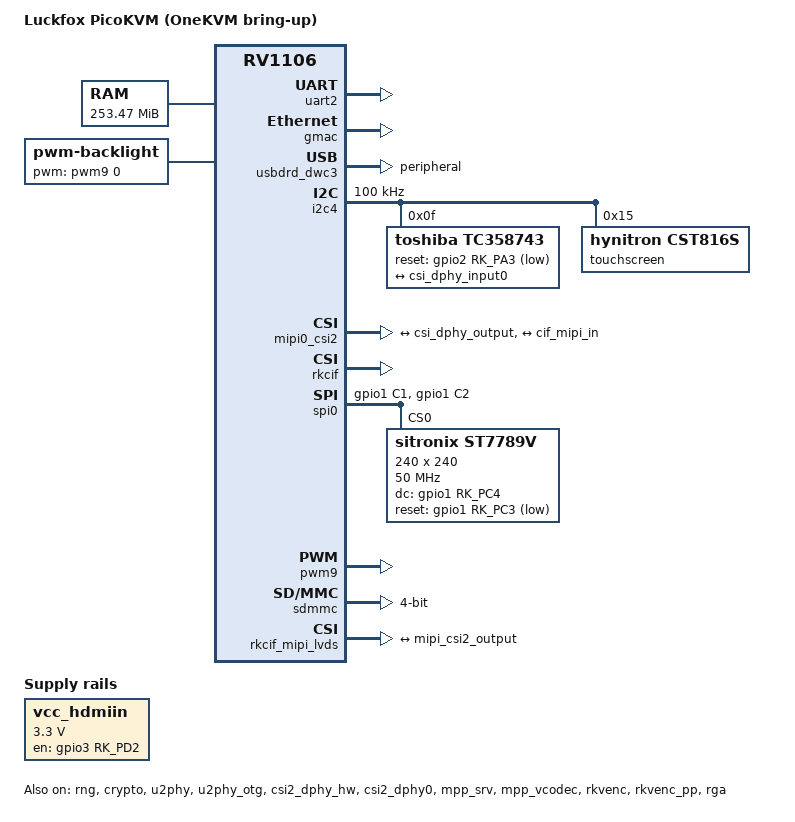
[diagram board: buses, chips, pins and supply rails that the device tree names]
// SPDX-License-Identifier: (GPL-2.0+ OR MIT)
/*
 * Copyright (c) 2026 OneKVM
 *
 * Luckfox PicoKVM (RV1106G3) — lab NFS bring-up board (picokvm-139).
 * Console baud matches stock U-Boot (115200), not the common Luckfox 1.5M.
 */

/dts-v1/;

#include "rv1106.dtsi"
#include <dt-bindings/clock/rockchip,rv1106-cru.h>
#include <dt-bindings/gpio/gpio.h>
#include <dt-bindings/media/video-interfaces.h>
#include <dt-bindings/pinctrl/rockchip.h>

/ {
	model = "Luckfox PicoKVM (OneKVM bring-up)";
	compatible = "luckfox,pico-kvm", "luckfox,pico", "rockchip,rv1106";

	aliases {
		/* Only UART2 is enabled; 8250 enumerates it as ttyS0. */
		serial0 = &uart2;
		serial2 = &uart2;
		gpio0 = &gpio0;
		gpio1 = &gpio1;
		gpio2 = &gpio2;
		gpio3 = &gpio3;
		gpio4 = &gpio4;
		rkcif_mipi_lvds0 = &rkcif_mipi_lvds;
		/*
		 * Stock FIT aliases: eMMC host is mmc0, SD is mmc1 even when
		 * eMMC has no card (no mmcblk0). Keep mmcblk1 so U-Boot
		 * root=/dev/mmcblk1p9 / blkdevparts=mmcblk1:... still match.
		 */
		mmc0 = &emmc;
		mmc1 = &sdmmc;
	};

	chosen {
		stdout-path = "serial0:115200n8";
		/*
		 * Linux uses this appended DTB, not the FIT fdt U-Boot
		 * leaves at 0x00c00000, so blkdevparts has to be here
		 * (the card has no MBR). cma=66M skips the 32 MiB DT
		 * fallback; 66 MiB is pageblock-aligned (68 MiB). Do not
		 * put 0x4200000 in the CMA cell.
		 */
		bootargs = "root=/dev/mmcblk1p9 rootfstype=ext4 rw rootwait console=ttyS0,115200 earlycon=uart8250,mmio32,0xff4c0000 systemd.gpt_auto=0 cma=66M storagemedia=sd blkdevparts=mmcblk1:32K(env),512K@32K(idblock),512K(uboot_a),512K(uboot_b),256K(misc),1M(security),32M(boot_a),32M(boot_b),640M(system_a),640M(system_b),-(userdata)";
	};

	memory@0 {
		device_type = "memory";
		/* Match stock U-Boot banks (OP-TEE hole at 0x03000000). */
		reg = <0x00000000 0x03000000>,
		      <0x03288000 0x0cd78000>;
	};

	reserved-memory {
		#address-cells = <1>;
		#size-cells = <1>;
		ranges;

		linux,cma {
			compatible = "shared-dma-pool";
			reusable;
			/* 32 MiB fallback when bootargs omit cma=.
			 * PicoKVM NFS boot passes cma=66M (labkit); that
			 * skips this default. Do not use size-only 66 MiB
			 * here: 0x4200000 is not pageblock-aligned, setup
			 * fails after reserving, then CONFIG_CMA_SIZE
			 * reserves a second 66 MiB and the kernel hangs
			 * before "Linux version". */
			size = <0x2000000>;
			linux,cma-default;
		};
	};

	/*
	 * Stock rk-kernel.dtb (FIT on mmc1 boot_a): gpio3 PD2, always-on 3.3V
	 * for the HDMI-in bridge. Without this the chip NAKs on I2C.
	 */
	vcc_hdmiin: vcc-hdmiin {
		compatible = "regulator-fixed";
		regulator-name = "vcc_hdmiin";
		regulator-min-microvolt = <3300000>;
		regulator-max-microvolt = <3300000>;
		gpio = <&gpio3 RK_PD2 GPIO_ACTIVE_HIGH>;
		enable-active-high;
		regulator-always-on;
		regulator-boot-on;
		pinctrl-names = "default";
		pinctrl-0 = <&hdmiin_pwren>;
	};

	/*
	 * Stock rk-kernel.dtb: pwm-backlight on PWM9 M1 (gpio1 PC5).
	 * Period 100 us; default full on so the 1.54" panel lights
	 * before userspace.
	 */
	backlight: backlight {
		compatible = "pwm-backlight";
		pwms = <&pwm9 0 100000 0>;
		brightness-levels = <
			0 8 16 32 48 64 80 96
			112 128 144 160 176 192 208 224
			240 255
		>;
		default-brightness-level = <17>;
	};
};

&uart2 {
	status = "okay";
};

&gmac {
	status = "okay";
};

&rng {
	status = "okay";
};

&crypto {
	status = "okay";
};

&u2phy {
	status = "okay";
};

&u2phy_otg {
	status = "okay";
};

&usbdrd_dwc3 {
	status = "okay";
	/* USB-C is the KVM target port. otg+ID defaults to xhci host and
	 * never registers a UDC, so HID/MSD never bind. */
	dr_mode = "peripheral";
};

&i2c4 {
	status = "okay";
	/* Stock DTB uses 100 kHz. */
	clock-frequency = <100000>;
	pinctrl-names = "default";
	pinctrl-0 = <&i2c4m2_xfer>;

	tc358743: hdmi-bridge@f {
		compatible = "toshiba,tc358743";
		reg = <0x0f>;
		clocks = <&cru MCLK_REF_MIPI0>;
		clock-names = "refclk";
		assigned-clocks = <&cru MCLK_REF_MIPI0>;
		assigned-clock-rates = <27000000>;
		/* Stock: gpio2 PA3 active-low (not JetKVM gpio3 PC5). */
		reset-gpios = <&gpio2 RK_PA3 GPIO_ACTIVE_LOW>;
		pinctrl-names = "default";
		pinctrl-0 = <&mipi_refclk_out0 &hdmiin_rst>;

		port {
			tc358743_out: endpoint {
				remote-endpoint = <&csi_dphy_input0>;
				bus-type = <MEDIA_BUS_TYPE_CSI2_DPHY>;
				clock-lanes = <0>;
				data-lanes = <1 2 3 4>;
				clock-noncontinuous;
				link-frequencies = /bits/ 64 <297000000>;
			};
		};
	};

	/* Stock FIT: CST816S on the same I2C4 as the HDMI bridge, no IRQ. */
	touchscreen@15 {
		compatible = "hynitron,cst816s";
		reg = <0x15>;
		touchscreen-size-x = <240>;
		touchscreen-size-y = <240>;
	};
};

&csi2_dphy_hw {
	status = "okay";
};

&csi2_dphy0 {
	status = "okay";

	ports {
		#address-cells = <1>;
		#size-cells = <0>;

		port@0 {
			reg = <0>;
			#address-cells = <1>;
			#size-cells = <0>;

			csi_dphy_input0: endpoint@0 {
				reg = <0>;
				remote-endpoint = <&tc358743_out>;
				data-lanes = <1 2 3 4>;
			};
		};

		port@1 {
			reg = <1>;
			#address-cells = <1>;
			#size-cells = <0>;

			csi_dphy_output: endpoint@0 {
				reg = <0>;
				remote-endpoint = <&mipi_csi2_input>;
			};
		};
	};
};

&mipi0_csi2 {
	status = "okay";

	ports {
		#address-cells = <1>;
		#size-cells = <0>;

		port@0 {
			reg = <0>;
			#address-cells = <1>;
			#size-cells = <0>;

			mipi_csi2_input: endpoint@1 {
				reg = <1>;
				remote-endpoint = <&csi_dphy_output>;
			};
		};

		port@1 {
			reg = <1>;
			#address-cells = <1>;
			#size-cells = <0>;

			mipi_csi2_output: endpoint@0 {
				reg = <0>;
				remote-endpoint = <&cif_mipi_in>;
			};
		};
	};
};

&mpp_srv {
	status = "okay";
};

&mpp_vcodec {
	status = "okay";
};

&rkvenc {
	status = "okay";
};

&rkvenc_pp {
	status = "okay";
};

&rga {
	status = "okay";
};

&rkcif {
	status = "okay";
};

/*
 * 1.54" 240x240 ST7789V. Stock FIT uses SPI0 M0 CLK/MOSI/CS0 only —
 * do not take spi0m0_pins (that muxes MISO onto gpio1 PC3, the reset pin).
 */
&spi0 {
	status = "okay";
	pinctrl-names = "default";
	pinctrl-0 = <&spi0m0_cs0 &spi0m0_clk_lcd &spi0m0_mosi_lcd>;
	#address-cells = <1>;
	#size-cells = <0>;

	st7789v: fbtft@0 {
		compatible = "sitronix,st7789v";
		reg = <0>;
		spi-max-frequency = <50000000>;
		fps = <60>;
		buswidth = <8>;
		width = <240>;
		height = <240>;
		dc-gpios = <&gpio1 RK_PC4 GPIO_ACTIVE_HIGH>;
		reset-gpios = <&gpio1 RK_PC3 GPIO_ACTIVE_LOW>;
	};
};

&pwm9 {
	status = "okay";
	pinctrl-names = "default";
	pinctrl-0 = <&pwm9m1_pins>;
};

/*
 * Stock PicoKVM boots from SD (storagemedia=sd, mmc@ffaa0000 = mmcblk1).
 * broken-cd matches the vendor DTB; do not mux sdmmc0_det (gpio3 PA1).
 */
&sdmmc {
	status = "okay";
	bus-width = <4>;
	cap-sd-highspeed;
	cap-mmc-highspeed;
	disable-wp;
	broken-cd;
	no-sdio;
	no-mmc;
	max-frequency = <50000000>;
	pinctrl-names = "default";
	pinctrl-0 = <&sdmmc0_clk &sdmmc0_cmd &sdmmc0_bus4>;
};

&rkcif_mipi_lvds {
	status = "okay";
	pinctrl-names = "default";
	pinctrl-0 = <&mipi_pins>;

	port {
		cif_mipi_in: endpoint {
			remote-endpoint = <&mipi_csi2_output>;
		};
	};
};

&pinctrl {
	hdmiin {
		hdmiin_rst: hdmiin-rst {
			rockchip,pins =
				/* gpio2_pa3 HDMI-in reset (GPIO) */
				<2 RK_PA3 0 &pcfg_pull_none>;
		};

		hdmiin_pwren: hdmiin-pwren {
			rockchip,pins =
				/* gpio3_pd2 HDMI-in 3V3 enable (GPIO) */
				<3 RK_PD2 0 &pcfg_pull_none>;
		};
	};

	spi0 {
		/* Stock FIT splits CLK/MOSI; omit MISO so PC3 stays GPIO reset. */
		spi0m0_clk_lcd: spi0m0-clk-lcd {
			rockchip,pins =
				<1 RK_PC1 4 &pcfg_pull_none>;
		};

		spi0m0_mosi_lcd: spi0m0-mosi-lcd {
			rockchip,pins =
				<1 RK_PC2 6 &pcfg_pull_none>;
		};
	};
};
